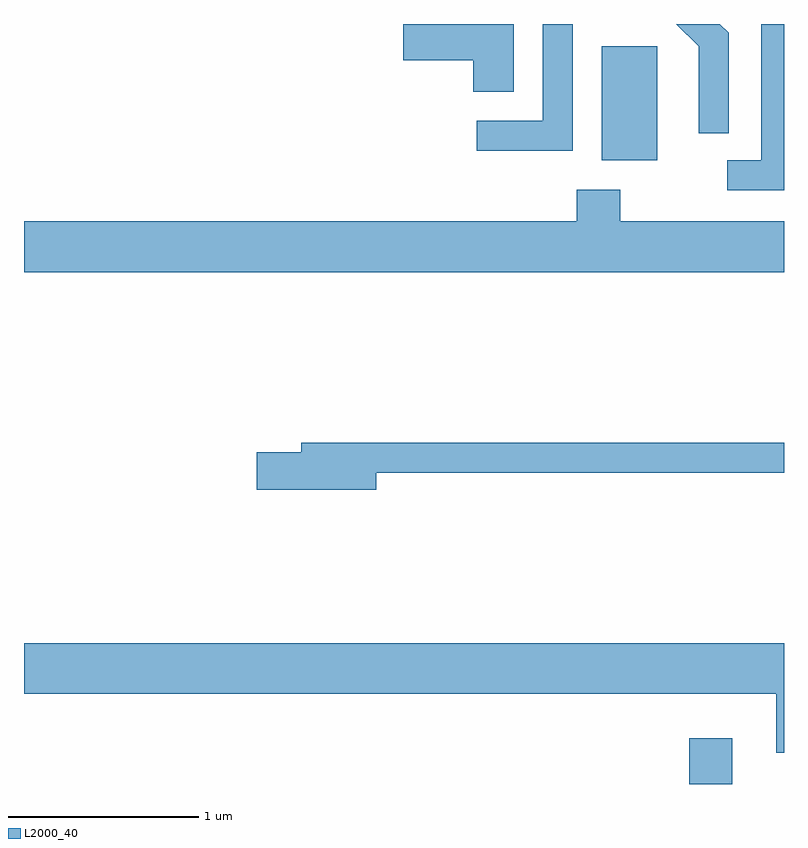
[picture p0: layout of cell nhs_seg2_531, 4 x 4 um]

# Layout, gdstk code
import gdstk
lib = gdstk.Library(unit=1e-6, precision=1e-09)
def R(c, l, rs):  # rectangles x0, y0, x1, y1
    for r in rs: c.add(gdstk.rectangle(r[:2], r[2:], *l))
def P(c, l, *ps):  # polygons
    for p in ps: c.add(gdstk.Polygon(p, *l))
L2000_40 = (2000, 40)

nhs_seg2_531 = lib.new_cell('nhs_seg2_531')
R(nhs_seg2_531, L2000_40, [(203.111,1087.802,203.339,1088.044), (202.651,1091.086,202.944,1091.684)])
P(nhs_seg2_531, L2000_40, [(202.189,1091.802),(201.606,1091.802),(201.606,1091.611),(201.976,1091.611),(201.976,1091.446),(202.189,1091.446)],
  [(203.611,1091.802),(203.491,1091.802),(203.491,1091.084),(203.313,1091.084),(203.313,1090.926),(203.611,1090.926)],
  [(202.499,1091.802),(202.341,1091.802),(202.341,1091.294),(201.993,1091.294),(201.993,1091.136),(202.499,1091.136)],
  [(203.319,1091.757),(203.274,1091.802),(203.043,1091.802),(203.161,1091.684),(203.161,1091.228),(203.319,1091.228)],
  [(203.611,1090.764),(202.749,1090.764),(202.749,1090.929),(202.521,1090.929),(202.521,1090.764),(199.611,1090.764),(199.611,1090.496),(203.611,1090.496)],
  [(201.464,1089.441),(203.611,1089.441),(203.611,1089.599),(201.071,1089.599),(201.071,1089.549),(200.836,1089.549),(200.836,1089.351),(201.464,1089.351)],
  [(203.611,1088.544),(199.611,1088.544),(199.611,1088.276),(203.571,1088.276),(203.571,1087.966),(203.611,1087.966)])

lib.write_gds('nhs_seg2_531.gds')
